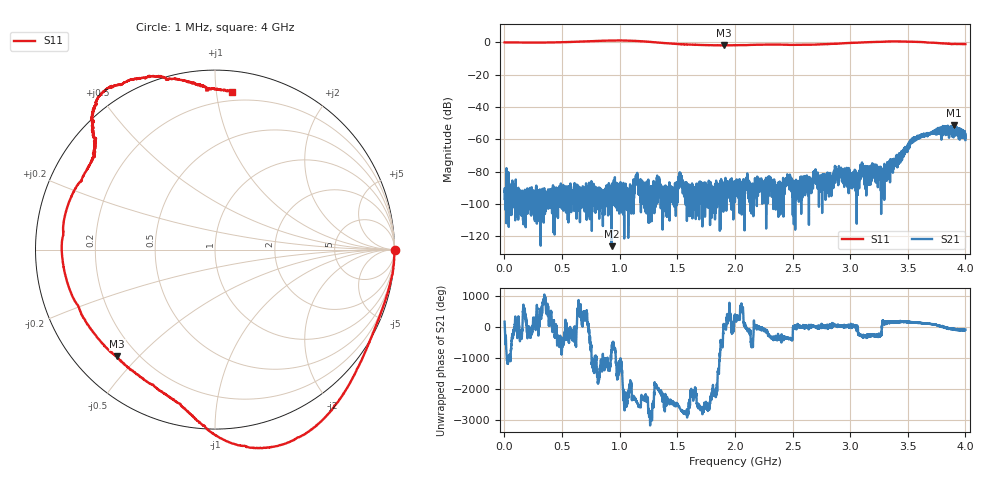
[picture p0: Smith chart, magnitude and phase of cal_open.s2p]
!Created with skrf (http://scikit-rf.org).
# GHz S RI R 50.0
!freq ReS11 ImS11 ReS21 ImS21 ReS12 ImS12 ReS22 ImS22
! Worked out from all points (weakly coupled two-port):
!   4000 points, 1 MHz to 4 GHz, reference 50 ohm
!   highest |S21| = -51.41 dB at 3.899 GHz (marker M1); lowest = -126.2 dB at 930 MHz (marker M2)
!   lowest |S11| = -1.9 dB at 1.903 GHz (marker M3), VSWR 9.39, Z = 6.34 - j21.7 ohm
!   |S11| at or under -10 dB: nowhere
!   S12 and S22 are empty: the file has one direction only
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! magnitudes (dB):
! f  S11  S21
! 1 MHz  0.0  -96.9
! 668 MHz  0.5  -93.5
! 930 MHz  1.2  -126.2
! 1.334 GHz  -0.1  -88.2
! 1.903 GHz  -1.9  -88.6
! 2.001 GHz  -1.7  -89.5
! 2.667 GHz  -1.4  -90.0
! 3.068 GHz  -0.1  -86.3
! 3.108 GHz  0.0  -81.4
! 3.162 GHz  0.2  -88.2
! 3.2 GHz  0.3  -82.7
! 3.274 GHz  0.4  -94.0
! 3.334 GHz  0.6  -76.6
! 3.425 GHz  0.6  -74.0
! 3.499 GHz  0.5  -63.9
! 3.534 GHz  0.5  -60.3
! 3.554 GHz  0.4  -58.8
! 3.627 GHz  0.2  -57.4
! 3.814 GHz  -0.6  -52.2
! 3.899 GHz  -0.9  -51.4
! 3.976 GHz  -1.0  -56.9
! 4 GHz  -1.1  -60.4
